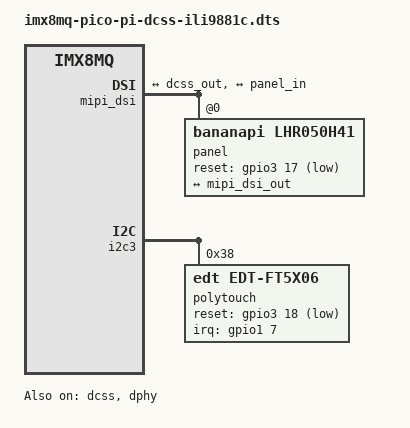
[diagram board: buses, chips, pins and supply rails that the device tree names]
/*
 * Copyright 2018 Technexion Ltd.
 * Copyright 2017 NXP
 *
 * Author: Richard Hu <richard.hu@technexion.com>
 *
 * This program is free software; you can redistribute it and/or
 * modify it under the terms of the GNU General Public License
 * as published by the Free Software Foundation; either version 2
 * of the License, or (at your option) any later version.
 *
 * This program is distributed in the hope that it will be useful,
 * but WITHOUT ANY WARRANTY; without even the implied warranty of
 * MERCHANTABILITY or FITNESS FOR A PARTICULAR PURPOSE.  See the
 * GNU General Public License for more details.
 */

/dts-v1/;

#include "imx8mq-pico-pi.dts"

/ {
	sound-hdmi {
		status = "disabled";
	};

	backlight_mipi {
		status = "okay";
	};
};

/delete-node/&hdmi;

&lcdif {
	status = "disabled";
};

&dcss {
	status = "okay";

	clocks = <&clk IMX8MQ_CLK_DISP_APB_ROOT>,
		 <&clk IMX8MQ_CLK_DISP_AXI_ROOT>,
		 <&clk IMX8MQ_CLK_DISP_RTRM_ROOT>,
		 <&clk IMX8MQ_CLK_DC_PIXEL>,
		 <&clk IMX8MQ_CLK_DISP_DTRC>;
	clock-names = "apb", "axi", "rtrm", "pix", "dtrc";
	assigned-clocks = <&clk IMX8MQ_CLK_DC_PIXEL>,
					  <&clk IMX8MQ_VIDEO_PLL1_BYPASS>,
					  <&clk IMX8MQ_VIDEO_PLL1_REF_SEL>,
					  <&clk IMX8MQ_CLK_DISP_AXI>,
					  <&clk IMX8MQ_CLK_DISP_RTRM>;
	assigned-clock-parents = <&clk IMX8MQ_VIDEO_PLL1_OUT>,
							 <&clk IMX8MQ_VIDEO_PLL1>,
							 <&clk IMX8MQ_CLK_27M>,
							 <&clk IMX8MQ_SYS1_PLL_800M>,
							 <&clk IMX8MQ_SYS1_PLL_800M>;
	assigned-clock-rates = <600000000>, <0>, <0>,
						   <800000000>,
						   <400000000>;

	port@0 {
		dcss_out: endpoint {
			remote-endpoint = <&mipi_dsi_in>;
		};
	};
};

&mipi_dsi {
	status = "okay";

	panel@0 {
		compatible = "bananapi,lhr050h41", "ilitek,ili9881c";
		pinctrl-0 = <&pinctrl_mipi_dsi_rst>;
		reset-gpio = <&gpio3 17 GPIO_ACTIVE_LOW>;
		reg = <0>;
		timing-mode = <1>;
		video-mode = <3>;

		port {
			panel_in: endpoint {
				remote-endpoint = <&mipi_dsi_out>;
			};
		};
	};

	ports {
		#address-cells = <1>;
		#size-cells = <0>;

		port@0 {
			reg = <0>;
			mipi_dsi_in: endpoint {
				remote-endpoint = <&dcss_out>;
			};
		};

		port@1 {
			reg = <1>;
			mipi_dsi_out: endpoint {
				remote-endpoint = <&panel_in>;
			};
		};
	};
};

&dphy {
	status = "okay";
};

&i2c3 {
	polytouch: edt-ft5x06@38 {
		compatible = "edt,edt-ft5x06";
		reg = <0x38>;
		pinctrl-names = "default";
		pinctrl-0 = <&pinctrl_touch_irq &pinctrl_touch_rst>;
		interrupt-parent = <&gpio1>;
		interrupts = <7 IRQ_TYPE_EDGE_FALLING>;
		reset-gpios = <&gpio3 18 GPIO_ACTIVE_LOW>;
		touchscreen-size-x = <720>;
		touchscreen-size-y = <1280>;
	};
};
